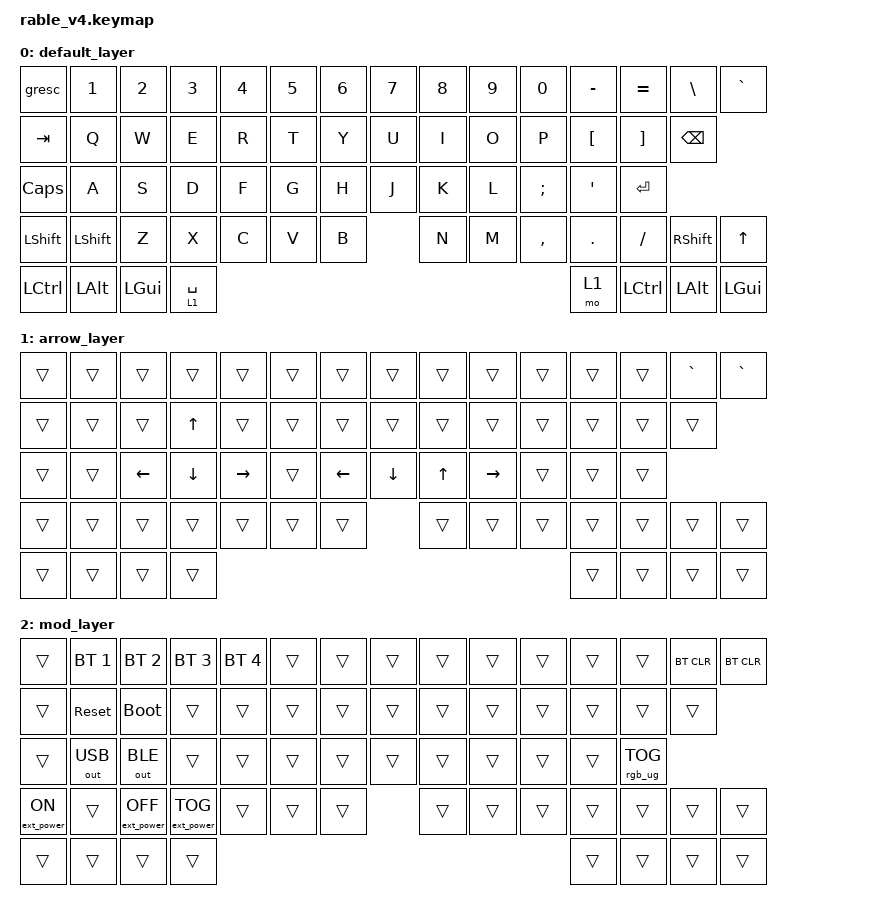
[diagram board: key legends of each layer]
/*
 * Copyright (c) 2021 Nick Winans
 *
 * SPDX-License-Identifier: MIT
 */

#include <behaviors.dtsi>
#include <dt-bindings/zmk/keys.h>
#include <dt-bindings/zmk/rgb.h>
#include <dt-bindings/zmk/bt.h>
#include <dt-bindings/zmk/outputs.h>
#include <dt-bindings/zmk/ext_power.h>

/ {
  keymap {
    compatible = "zmk,keymap";
    
    default_layer {
      bindings = <
        &gresc     &kp N1   &kp N2   &kp N3   &kp N4   &kp N5   &kp N6   &kp N7   &kp N8     &kp N9   &kp N0    &kp MINUS  &kp EQUAL  &kp BSLH  &kp GRAVE
        &kp TAB    &kp Q    &kp W    &kp E    &kp R    &kp T    &kp Y    &kp U    &kp I      &kp O    &kp P     &kp LBKT   &kp RBKT       &kp BSPC 
        &kp CLCK   &kp A    &kp S  &kp D    &kp F    &kp G    &kp H    &kp J    &kp K      &kp L    &kp SEMI  &kp SQT           &kp RET                   
        &kp LSHFT  &kp LSHFT &kp Z    &kp X    &kp C    &kp V    &kp B    &kp N    &kp M    &kp COMMA  &kp DOT  &kp FSLH            &kp RSHFT   &kp UP    
        &kp LCTRL  &kp LALT &kp LGUI                                  &lt 1 SPACE                               &mo 1   &kp LCTRL  &kp LALT &kp LGUI
      >;
    };

    arrow_layer {
        // ----------------------------------------------------------------------------------------------------------------
        // |        |    |     |     |     |     |     |     |     |     |     |     |     |     |     |   `~    |
        // |        |    |     |     |     |     |     |     |     |     |     |     |     |     |     |         |
        // |        |    |     |     |     |     |     |LEFT |DOWN |  UP |RIGHT|     |     |     |     |         |
        // |        |    |     |     |     |     |     |     |     |     |     |     |     |     |     |         |
        // |        |    |     |     |                                               |     |     |     |         |
        // ----------------------------------------------------------------------------------------------------------------
      bindings = <
        &trans    &trans   &trans    &trans   &trans    &trans   &trans    &trans   &trans    &trans   &trans    &trans   &trans    &kp GRAVE   &kp GRAVE     
        &trans   &trans   &trans    &kp UP   &trans    &trans   &trans    &trans   &trans    &trans   &trans    &trans   &trans         &trans       
        &trans  &trans   &kp LEFT   &kp DOWN   &kp RIGHT  &trans   &kp LEFT  &kp DOWN &kp UP   &kp RIGHT &trans    &trans            &trans              
        &trans  &trans &trans   &trans    &trans   &trans    &trans   &trans    &trans   &trans    &trans   &trans                       &trans   &trans    
        &trans   &trans   &trans                                   &trans                                        &trans      &trans    &trans   &trans   
      >;
    };
    
    mod_layer {
        // ----------------------------------------------------------------------------------------------------------------
        // |        |    | BT 1|BT 2 |BT 3 |BT 4 |     |     |     |     |     |     |     |     |BT CLR |         |
        // |        |    | RST | BOOT|     |     |     |     |     |     |     |     |     |     |       |         |
        // |        |    | USB | BLE |     |     |     |     |     |     |     |     |     |     |RGB TOG|         |
        // |        |    |EP_ON|EP_OFF|EP_TOG|     |     |     |     |     |     |     |     |     |       |         |
        // |        |    |     |     |                                               |     |     |       |         |
        // ----------------------------------------------------------------------------------------------------------------
      bindings = <
        &trans  &bt BT_SEL 1  &bt BT_SEL 2   &bt BT_SEL 3  &bt BT_SEL 4   &trans   &trans    &trans   &trans    &trans   &trans    &trans   &trans   &bt BT_CLR   &bt BT_CLR        
        &trans  &sys_reset     &bootloader   &trans    &trans    &trans   &trans   &trans   &trans   &trans   &trans   &trans   &trans   &trans   
        &trans  &out OUT_USB   &out OUT_BLE    &trans   &trans    &trans   &trans    &trans   &trans    &trans   &trans    &trans            &rgb_ug RGB_TOG           
        &ext_power EP_ON  &trans &ext_power EP_OFF   &ext_power EP_TOG    &trans   &trans    &trans   &trans    &trans   &trans    &trans   &trans                       &trans   &trans        
        &trans   &trans   &trans                                   &trans                                         &trans   &trans     &trans   &trans  
      >;
    };

    extra1 {
            status = "reserved";
    };

    extra2 {
            status = "reserved";
    };
    
  };
};
